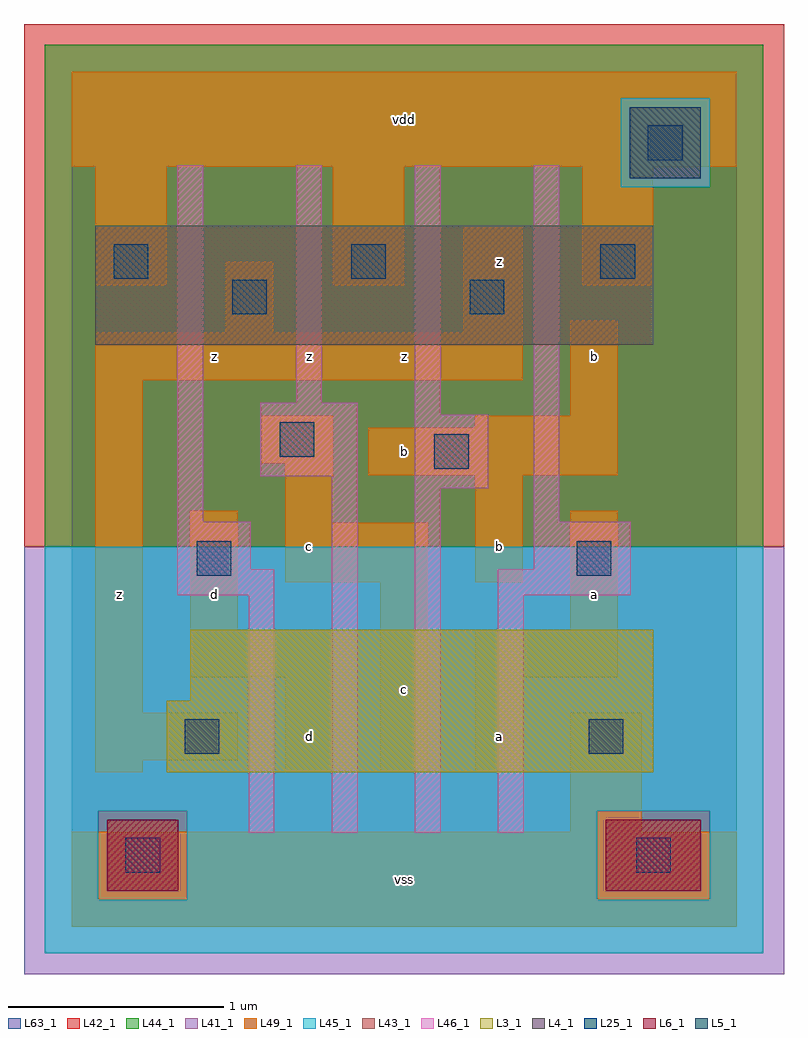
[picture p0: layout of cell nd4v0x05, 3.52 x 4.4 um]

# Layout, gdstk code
import gdstk
lib = gdstk.Library(unit=1e-6, precision=1e-09)
def R(c, l, rs):  # rectangles x0, y0, x1, y1
    for r in rs: c.add(gdstk.rectangle(r[:2], r[2:], *l))
L3_1 = (3, 1)
L4_1 = (4, 1)
L5_1 = (5, 1)
L6_1 = (6, 1)
L25_1 = (25, 1)
L41_1 = (41, 1)
L42_1 = (42, 1)
L43_1 = (43, 1)
L44_1 = (44, 1)
L45_1 = (45, 1)
L46_1 = (46, 1)
L49_1 = (49, 1)
L63_1 = (63, 1)

nd4v0x05 = lib.new_cell('nd4v0x05')
R(nd4v0x05, L3_1, [(0.44,0.715,2.695,1.045), (0.55,1.045,2.695,1.375)])
R(nd4v0x05, L4_1, [(0.11,2.695,2.695,3.245)])
R(nd4v0x05, L5_1, [(2.585,3.465,2.915,3.795)])
R(nd4v0x05, L6_1, [(0.165,0.165,0.495,0.495), (2.475,0.165,2.915,0.495)])
R(nd4v0x05, L25_1, [(0.25,0.25,0.41,0.41), (2.615,0.25,2.775,0.41), (0.525,0.8,0.685,0.96), (2.395,0.8,2.555,0.96), (0.58,1.625,0.74,1.785), (2.34,1.625,2.5,1.785), (1.68,2.12,1.84,2.28), (0.965,2.175,1.125,2.335), (0.745,2.835,0.905,2.995), (1.845,2.835,2.005,2.995), (0.195,3,0.355,3.16), (1.295,3,1.455,3.16), (2.45,3,2.61,3.16), (2.67,3.55,2.83,3.71)])
R(nd4v0x05, L41_1, [(-0.22,-0.22,3.3,1.76)])
R(nd4v0x05, L42_1, [(-0.22,1.76,3.3,4.18)])
R(nd4v0x05, L43_1, [(0.165,0.165,0.495,0.495), (2.475,0.165,2.915,0.495), (0.44,0.715,2.695,1.045), (0.55,1.045,2.695,1.375), (0.11,2.695,2.695,3.245), (2.585,3.465,2.915,3.795)])
R(nd4v0x05, L44_1, [(0.125,0.125,0.535,0.535), (2.435,0.125,2.955,0.535), (-0.125,1.76,3.205,3.425), (-0.125,3.425,2.545,3.835), (2.955,3.425,3.205,3.835), (-0.125,3.835,3.205,4.085)])
R(nd4v0x05, L45_1, [(-0.125,-0.125,3.205,0.125), (-0.125,0.125,0.125,0.535), (0.535,0.125,2.435,0.535), (2.955,0.125,3.205,0.535), (-0.125,0.535,3.205,1.76), (2.545,3.425,2.955,3.835)])
R(nd4v0x05, L46_1, [(0.82,0.435,0.94,1.535), (1.205,0.435,1.325,2.085), (1.59,0.435,1.71,2.03), (1.975,0.435,2.095,1.535), (0.49,1.535,0.94,1.655), (1.975,1.535,2.59,1.655), (0.49,1.655,0.83,1.875), (2.14,1.655,2.59,1.875), (0.49,1.875,0.61,3.525), (2.14,1.875,2.26,3.525), (1.59,2.03,1.93,2.37), (0.875,2.085,1.325,2.425), (1.59,2.37,1.71,3.525), (1.04,2.425,1.16,3.525)])
R(nd4v0x05, L49_1, [(0,0,3.08,0.44), (2.31,0.44,2.64,0.99), (0.11,0.715,0.33,0.77), (0.99,0.715,1.21,1.155), (1.43,0.715,1.65,1.595), (1.87,0.715,2.09,1.155), (0.11,0.77,0.77,0.99), (0.11,0.99,0.33,2.53), (0.55,1.155,1.21,1.375), (1.87,1.155,2.53,1.375), (0.55,1.375,0.77,1.925), (2.31,1.375,2.53,1.925), (0.99,1.595,1.65,1.87), (1.87,1.595,2.09,2.09), (0.99,1.87,1.21,2.145), (1.375,2.09,2.53,2.31), (0.88,2.145,1.21,2.365), (1.87,2.31,2.53,2.365), (2.31,2.365,2.53,2.805), (0.11,2.53,2.09,2.75), (0.715,2.75,0.935,3.08), (1.815,2.75,2.09,3.245), (0.11,2.97,0.44,3.52), (1.21,2.97,1.54,3.52), (2.365,2.97,2.695,3.52), (0,3.52,3.08,3.96)])
R(nd4v0x05, L63_1, [(0,0,3.08,3.96)])
nd4v0x05.add(gdstk.Label('z', (0.22,1.54), layer=49, texttype=1))
nd4v0x05.add(gdstk.Label('d', (0.66,1.54), layer=49, texttype=1))
nd4v0x05.add(gdstk.Label('z', (0.66,2.64), layer=49, texttype=1))
nd4v0x05.add(gdstk.Label('vss', (1.54,0.22), layer=49, texttype=1))
nd4v0x05.add(gdstk.Label('d', (1.1,0.88), layer=49, texttype=1))
nd4v0x05.add(gdstk.Label('c', (1.54,1.1), layer=49, texttype=1))
nd4v0x05.add(gdstk.Label('c', (1.1,1.76), layer=49, texttype=1))
nd4v0x05.add(gdstk.Label('b', (1.54,2.2), layer=49, texttype=1))
nd4v0x05.add(gdstk.Label('z', (1.1,2.64), layer=49, texttype=1))
nd4v0x05.add(gdstk.Label('z', (1.54,2.64), layer=49, texttype=1))
nd4v0x05.add(gdstk.Label('vdd', (1.54,3.74), layer=49, texttype=1))
nd4v0x05.add(gdstk.Label('a', (1.98,0.88), layer=49, texttype=1))
nd4v0x05.add(gdstk.Label('a', (2.42,1.54), layer=49, texttype=1))
nd4v0x05.add(gdstk.Label('b', (1.98,1.76), layer=49, texttype=1))
nd4v0x05.add(gdstk.Label('b', (2.42,2.64), layer=49, texttype=1))
nd4v0x05.add(gdstk.Label('z', (1.98,3.08), layer=49, texttype=1))

lib.write_gds('nd4v0x05.gds')
